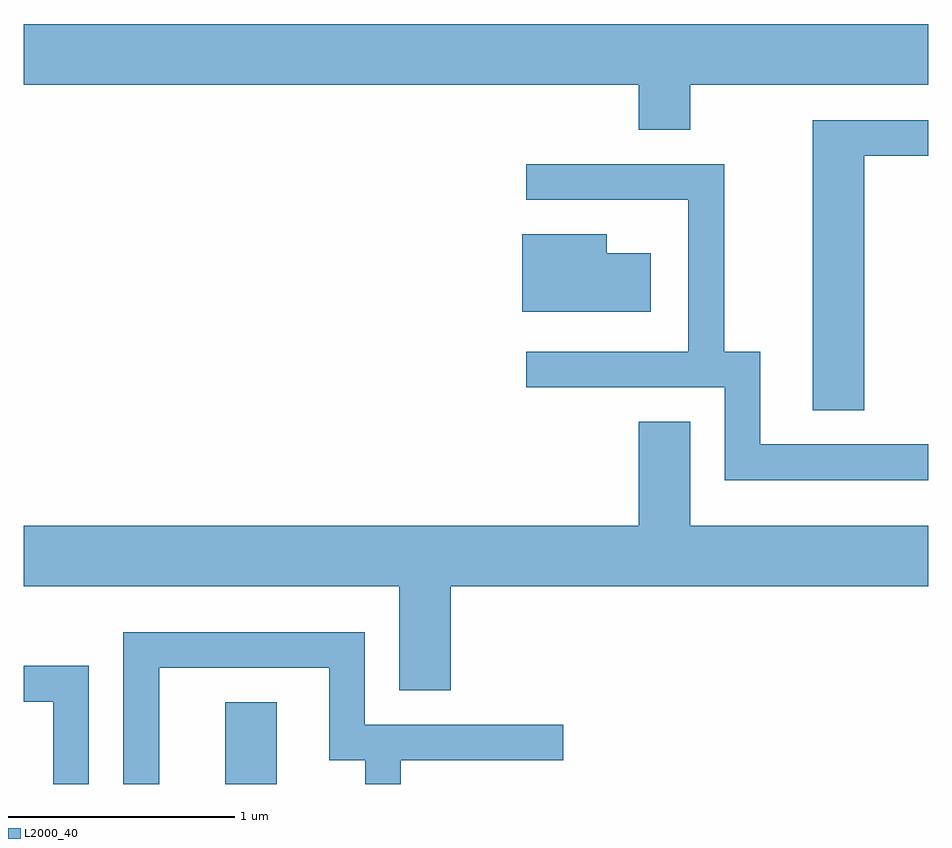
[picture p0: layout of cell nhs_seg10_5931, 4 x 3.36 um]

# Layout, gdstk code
import gdstk
lib = gdstk.Library(unit=1e-6, precision=1e-09)
def R(c, l, rs):  # rectangles x0, y0, x1, y1
    for r in rs: c.add(gdstk.rectangle(r[:2], r[2:], *l))
def P(c, l, *ps):  # polygons
    for p in ps: c.add(gdstk.Polygon(p, *l))
L2000_40 = (2000, 40)

nhs_seg10_5931 = lib.new_cell('nhs_seg10_5931')
R(nhs_seg10_5931, L2000_40, [(360.501,2188.522,360.729,2188.884)])
P(nhs_seg10_5931, L2000_40, [(362.559,2191.616),(363.611,2191.616),(363.611,2191.884),(359.611,2191.884),(359.611,2191.616),(362.331,2191.616),(362.331,2191.416),(362.559,2191.416)],
  [(363.329,2191.301),(363.611,2191.301),(363.611,2191.459),(363.101,2191.459),(363.101,2190.176),(363.329,2190.176)],
  [(363.611,2190.024),(362.869,2190.024),(362.869,2190.434),(362.709,2190.434),(362.709,2191.264),(361.833,2191.264),(361.833,2191.106),(362.551,2191.106),(362.551,2190.434),(361.833,2190.434),(361.833,2190.276),(362.711,2190.276),(362.711,2189.866),(363.611,2189.866)],
  [(362.384,2190.869),(362.189,2190.869),(362.189,2190.954),(361.816,2190.954),(361.816,2190.611),(362.384,2190.611)],
  [(361.499,2189.396),(363.611,2189.396),(363.611,2189.664),(362.559,2189.664),(362.559,2190.124),(362.331,2190.124),(362.331,2189.664),(359.611,2189.664),(359.611,2189.396),(361.271,2189.396),(361.271,2188.936),(361.499,2188.936)],
  [(360.209,2189.036),(360.961,2189.036),(360.961,2188.626),(361.121,2188.626),(361.121,2188.522),(361.279,2188.522),(361.279,2188.626),(361.998,2188.626),(361.998,2188.784),(361.119,2188.784),(361.119,2189.194),(360.051,2189.194),(360.051,2188.522),(360.209,2188.522)],
  [(359.899,2189.044),(359.611,2189.044),(359.611,2188.886),(359.741,2188.886),(359.741,2188.522),(359.899,2188.522)])

lib.write_gds('nhs_seg10_5931.gds')
